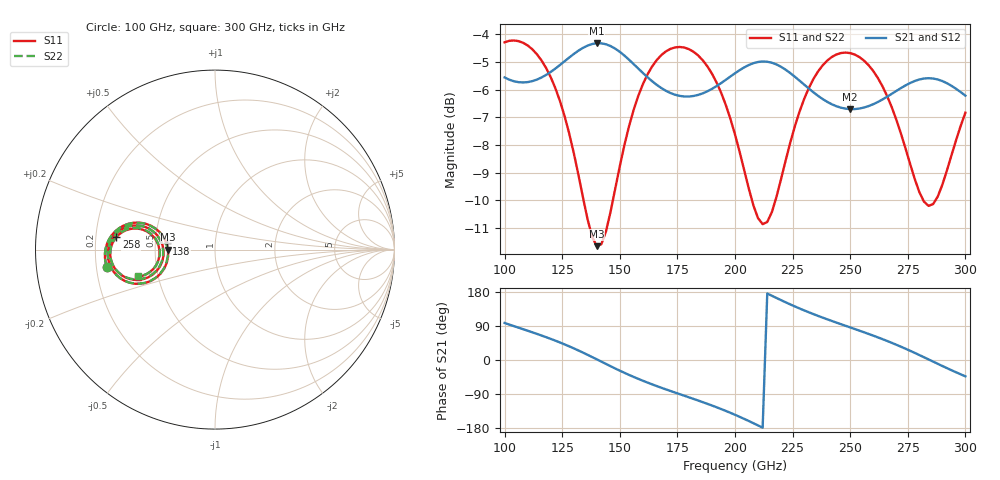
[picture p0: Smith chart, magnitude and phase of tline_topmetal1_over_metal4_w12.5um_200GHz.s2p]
#  GHZ S DB R 50
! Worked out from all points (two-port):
!   101 points, 100 GHz to 300 GHz, reference 50 ohm
!   highest |S21| = -4.33 dB at 140 GHz (marker M1); lowest = -6.7 dB at 250 GHz (marker M2)
!   |S21| within 3 dB of the highest: start of sweep to end of sweep
!   lowest |S11| = -11.6 dB at 140 GHz (marker M3), VSWR 1.71, Z = 29.3 - j0.0511 ohm
!   |S11| at or under -10 dB: 134.3 GHz to 147 GHz (12.69 GHz wide, 9.02 % of centre); 207.4 GHz to 217.5 GHz (10.13 GHz wide, 4.77 % of centre); 281.8 GHz to 287 GHz (5.185 GHz wide, 1.82 % of centre)
!   |S22| runs from -11.6 to -4.2 dB; largest |S21 - S12| = 5.7e-14
!   S11 on the Smith chart (normalised r, x): 100 GHz: 0.24, -0.08; 138 GHz: 0.57, +0.04; 258 GHz: 0.29, +0.06; 300 GHz: 0.38, -0.15
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100  -4.30 -170.7  -5.56 97.7  -5.56 97.7  -4.29 -170.7
110  -4.41 176.8  -5.73 77.3  -5.73 77.3  -4.40 176.9
120  -5.55 165.4  -5.36 55.8  -5.36 55.8  -5.54 165.5
128  -7.57 159.6  -4.85 36.1  -4.85 36.1  -7.55 159.8
134  -9.88 162.7  -4.50 19.5  -4.50 19.5  -9.84 162.9
138  -11.31 172.7  -4.36 7.8  -4.36 7.8  -11.25 172.8
140  -11.65 -179.8  -4.33 1.7  -4.33 1.7  -11.58 -179.8
146  -10.40 -159.5  -4.43 -16.4  -4.43 -16.4  -10.35 -159.7
154  -7.32 -154.4  -4.92 -39.3  -4.92 -39.3  -7.30 -154.6
168  -4.76 -167.7  -5.94 -73.1  -5.94 -73.1  -4.75 -167.8
182  -4.64 176.4  -6.23 -102.7  -6.23 -102.7  -4.63 176.4
200  -7.62 162.0  -5.41 -144.6  -5.41 -144.6  -7.59 162.1
210  -10.64 174.8  -5.00 -172.7  -5.00 -172.7  -10.57 174.8
214  -10.77 -172.9  -5.00 175.5  -5.00 175.5  -10.71 -173.1
224  -7.91 -157.5  -5.41 146.7  -5.41 146.7  -7.88 -157.9
234  -5.62 -162.8  -6.10 121.2  -6.10 121.2  -5.61 -163.2
250  -4.68 -179.2  -6.71 86.0  -6.71 86.0  -4.69 -179.5
258  -5.12 172.9  -6.60 68.8  -6.60 68.8  -5.13 172.5
268  -6.63 165.4  -6.16 45.4  -6.16 45.4  -6.64 165.0
284  -10.19 -178.8  -5.59 1.6  -5.59 1.6  -10.25 -179.1
292  -8.91 -162.7  -5.77 -21.5  -5.77 -21.5  -8.95 -162.9
300  -6.83 -160.6  -6.22 -43.1  -6.22 -43.1  -6.86 -160.8
